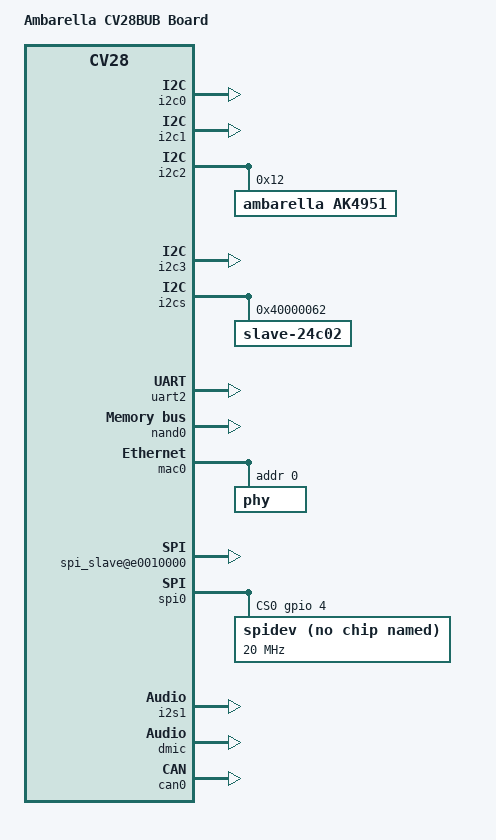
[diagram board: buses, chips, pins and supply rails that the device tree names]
/*
 * board level device tree source
 */

/dts-v1/;

/include/ "cv28.dtsi"

/ {
	model = "Ambarella CV28BUB Board";
	compatible = "ambarella,cv28bub", "ambarella,cv28";

	chosen {
		stdout-path = &uart0;
		#address-cells = <1>;
		#size-cells = <1>;
		xen,xen-bootargs = "dom0_mem=256M bootscrub=0 dom0_max_vcpus=1 dom0_vcpus_pin timer_slop=0";
		module@0 {
			 compatible = "xen,linux-zimage", "xen,multiboot-module";
			 reg = <0x0 0x0>;
			 bootargs = "root=/dev/mtdblock21 rootfstype=squashfs rdinit=/sbin/init console=hvc0 earlycon=xenboot quiet";
		};

		domu_tx {
			#address-cells = <1>;
			#size-cells = <1>;
			compatible = "xen,domain";
			memory = <0x0 0x0>;
			cpus = <1>;

			module@0 {
				compatible = "multiboot,kernel", "multiboot,module";
				reg = <0x0 0x0>;
			};
		};

	};

	ppm2 {
		reg = <0x48000 0x67fb8000>;
		device_type = "ppm2";
	};

	shm {
		reg = <0x68000000 0x600000>;
		device_type = "shm";
	};

	n_apb@e4000000 {
		i2c0: i2c@e4008000 {
			status = "ok";
		};

		i2c1: i2c@e4009000 {
			status = "ok";
		};

		i2c2: i2c@e400a000 {
			status = "ok";
			ak4951: codec@12 {
				compatible = "ambarella,ak4951";
				#sound-dai-cells = <0>;
				reg = <0x12>;
			};
		};

		i2c3: i2c@e400b000 {
			status = "ok";
		};

		i2cs: i2cs@e4007000 {
			status = "ok";
			slave-24c02@62{
				compatible = "slave-24c02";
				reg = <0x40000062>;
			};
		};
	};

	n_ahb@e0000000 {
		uart1: uart@e0017000 {
			/delete-property/amb,txdma-used;
			/delete-property/amb,rxdma-used;
			/delete-property/dmas;
			/delete-property/dma-names;
			/delete-property/pinctrl-0;
			status = "disabled";
		};

		uart2: uart@e0018000 {
			/delete-property/amb,txdma-used;
			/delete-property/amb,rxdma-used;
			/delete-property/dmas;
			/delete-property/dma-names;
			pinctrl-0 = <&uart2_pins>;
			status = "ok";
		};

		nand0: nand@e0002000 {
			status = "ok";
		};

		sdmmc0: sdmmc0@e0004000 {
			pwr-gpios = <&gpio 63 0x1>;
			v18-gpios = <&gpio 86 0x1>;
			/*amb,fixed-cd = <1>;*/
		};

		mac0: ethernet@e000e000 {
			amb,tx-clk-invert;
			phy@0 {
				reg = <0>;
			};
		};

		spi_slave@e0010000 {
			status = "ok";
		};

		spi0: spi@e0011000 {
			status = "ok";
			cs-gpios = <&gpio 4 0>;

			spidev@0 {
					compatible = "ambarella,spidev";
					spi-max-frequency = <20000000>;
					reg = <0>;
					/*spi-cpha;*/
					/*spi-cpol;*/
			};
		};
		i2s0: i2s@e001c000 {
			status = "disabled";
		};
		i2s1: i2s@e001d000 {
			status = "ok";
		};
		dmic: dmic@e0015000 {
			status = "ok";
		};
	};

	s_ahb@e8000000 {
		can0: can@e8004000 {
			status = "ok";
		};
	};

	rct@ed080000 {
		usbphy: usbphy@ed080050 {
            pinctrl-names = "default";
            pinctrl-0 = <&usb_host0_pins_d>;
		};
	};

	sound {
		compatible = "ambarella,audio-board";
		simple-audio-card,name = "ak4951 @ AMBEVK";
		simple-audio-card,mclk-fs = <256>;
		simple-audio-card,widgets =
		"Speaker", "Speaker",
		"Headphone", "HP Jack",
		"Line", "Line In",
		"Line", "Line Out",
		"Microphone", "Mic Internal",
		"Microphone", "Mic External";
		simple-audio-card,routing =
		"LIN2", "Mic Bias",
		"RIN2", "Mic Bias",
		"Mic Bias", "Mic Internal",
		"LIN3", "Line In",
		"RIN3", "Line In",
		"Line Out", "SPKLO",
		"HP Jack", "HPL",
		"HP Jack", "HPR",
		"Speaker", "SPKLO";

		simple-audio-card,dai-link@0 {
			format = "i2s";

			cpu {
				sound-dai = <&i2s1>;
			};

			codec {
				sound-dai = <&ak4951>;
			};
		};

		simple-audio-card,dai-link@1 {
			format = "i2s";

			cpu {
				sound-dai = <&i2s1>;
			};

			codec {
				sound-dai = <&dmic>;
			};
		};

	};
};
